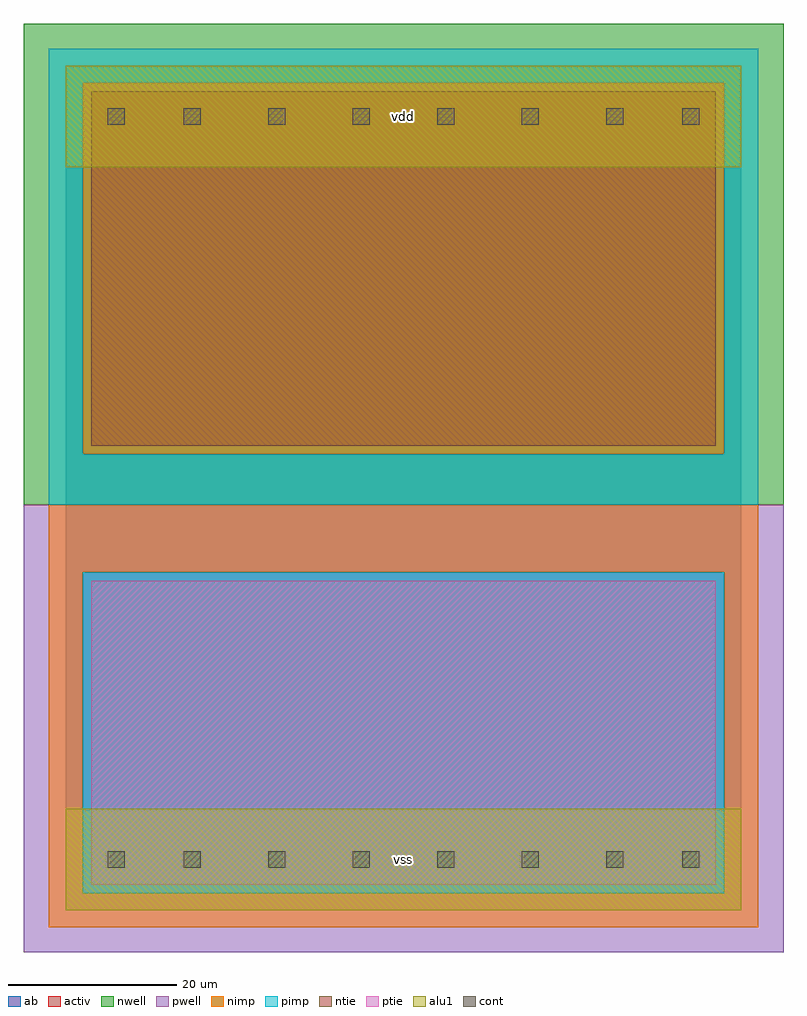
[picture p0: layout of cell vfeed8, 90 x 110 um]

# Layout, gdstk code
import gdstk
lib = gdstk.Library(unit=1e-6, precision=1e-09)
def R(c, l, rs):  # rectangles x0, y0, x1, y1
    for r in rs: c.add(gdstk.rectangle(r[:2], r[2:], *l))
def A(c, l, x, y, w, h, nx, ny, dx, dy):  # array of equal rectangles
    R(c, l, [(x+i*dx, y+j*dy, x+i*dx+w, y+j*dy+h) for i in range(nx) for j in range(ny)])
ntie = (5, 0)
ptie = (6, 0)
cont = (25, 0)
pwell = (41, 0)
nwell = (42, 0)
activ = (43, 0)
pimp = (44, 0)
nimp = (45, 0)
alu1 = (49, 0)
ab = (63, 0)

vfeed8 = lib.new_cell('vfeed8')
R(vfeed8, ntie, [(3,55,77,97)])
R(vfeed8, ptie, [(3,3,77,39)])
A(vfeed8, cont, 14, 5, 2, 2, 6, 2, 10, 88)
R(vfeed8, cont, [(5,5,7,7), (73,5,75,7), (5,93,7,95), (73,93,75,95)])
R(vfeed8, pwell, [(-5,-5,85,48)])
R(vfeed8, nwell, [(-5,48,85,105)])
R(vfeed8, activ, [(3,3,77,39), (3,55,77,97)])
R(vfeed8, pimp, [(2,2,78,40), (-2,48,82,54), (-2,54,2,98), (78,54,82,98), (-2,98,82,102)])
R(vfeed8, nimp, [(-2,-2,82,2), (-2,2,2,40), (78,2,82,40), (-2,40,82,48), (2,54,78,98)])
R(vfeed8, alu1, [(0,0,80,12), (0,88,80,100)])
R(vfeed8, ab, [(0,0,80,100)])
vfeed8.add(gdstk.Label('vss', (40,6), layer=49, texttype=0))
vfeed8.add(gdstk.Label('vdd', (40,94), layer=49, texttype=0))

lib.write_gds('vfeed8.gds')
